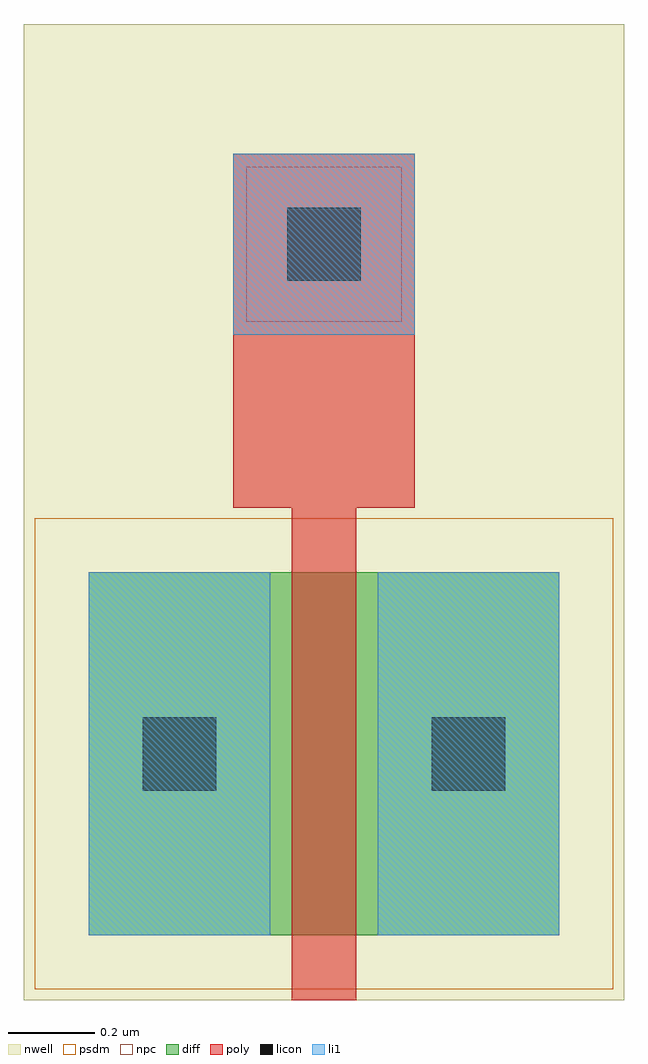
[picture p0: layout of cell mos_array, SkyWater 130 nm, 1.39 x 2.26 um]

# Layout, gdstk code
import gdstk
lib = gdstk.Library(unit=1e-6, precision=1e-09)
def R(c, l, rs):  # rectangles x0, y0, x1, y1
    for r in rs: c.add(gdstk.rectangle(r[:2], r[2:], *l))
nwell = (64, 20)
diff = (65, 20)
poly = (66, 20)
licon = (66, 44)
li1 = (67, 20)
psdm = (94, 20)
npc = (95, 20)

mos_array = lib.new_cell('mos_array')
R(mos_array, nwell, [(-0.15,-0.15,1.24,2.11)])
R(mos_array, diff, [(0,0,1.09,0.84)])
R(mos_array, poly, [(0.47,-0.15,0.62,0.84), (0.47,0.84,0.62,0.99), (0.47,0.84,0.62,0.99), (0.335,0.99,0.755,1.81)])
R(mos_array, licon, [(0.125,0.335,0.295,0.505), (0.795,0.335,0.965,0.505), (0.46,1.515,0.63,1.685)])
R(mos_array, li1, [(0,0,0.42,0.84), (0.67,0,1.09,0.84), (0.335,1.39,0.755,1.81)])
R(mos_array, psdm, [(-0.125,-0.125,1.215,0.965)])
R(mos_array, npc, [(0.365,1.42,0.725,1.78)])

lib.write_gds('mos_array.gds')
